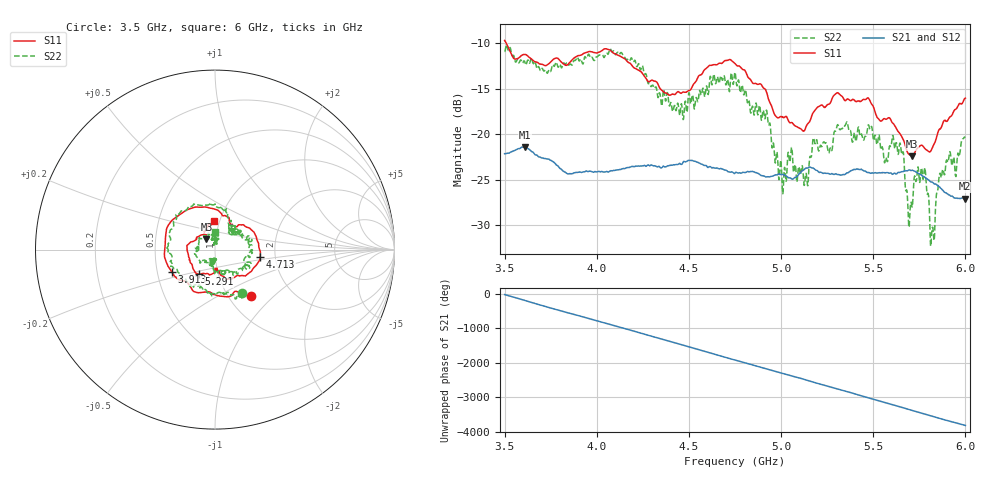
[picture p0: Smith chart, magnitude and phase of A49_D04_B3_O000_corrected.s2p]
! Created with skrf 1.9.0 (http://scikit-rf.org).
# Hz S RI R 50.0
!freq ReS11 ImS11 ReS21 ImS21 ReS12 ImS12 ReS22 ImS22
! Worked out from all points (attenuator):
!   1601 points, 3.5 GHz to 6 GHz, reference 50 ohm
!   highest |S21| = -21.41 dB at 3.609 GHz (marker M1); lowest = -27.1 dB at 5.997 GHz (marker M2)
!   lowest |S11| = -22.4 dB at 5.711 GHz (marker M3), VSWR 1.16, Z = 45.1 + j5.31 ohm
!   |S11| at or under -10 dB: 3.508 GHz to end of sweep
!   |S22| runs from -32.3 to -10.2 dB; largest |S21 - S12| = 0.001
!   S11 on the Smith chart (normalised r, x): 3.5 GHz: 1.26, -0.73; 3.913 GHz: 0.60, -0.16; 4.713 GHz: 1.67, -0.14; 5.291 GHz: 0.80, -0.23; 6 GHz: 0.94, +0.30
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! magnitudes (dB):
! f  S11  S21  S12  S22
! 3.5 GHz  -9.7  -22.2  -22.1  -10.9
! 3.609 GHz  -11.3  -21.4  -21.4  -12.1
! 3.913 GHz  -11.3  -24.2  -24.1  -11.8
! 3.917 GHz  -11.3  -24.2  -24.2  -11.9
! 4.334 GHz  -14.6  -23.5  -23.5  -15.9
! 4.713 GHz  -11.9  -24.1  -24.1  -14.2
! 4.75 GHz  -12.3  -24.3  -24.2  -13.2
! 4.928 GHz  -15.9  -24.7  -24.6  -18.5
! 5.017 GHz  -18.2  -24.5  -24.4  -23.8
! 5.048 GHz  -18.8  -24.8  -24.8  -23.0
! 5.136 GHz  -19.2  -23.7  -23.6  -24.3
! 5.167 GHz  -17.9  -23.7  -23.6  -21.9
! 5.291 GHz  -15.7  -24.4  -24.3  -19.7
! 5.584 GHz  -18.2  -24.3  -24.2  -21.9
! 5.653 GHz  -20.2  -24.1  -24.0  -22.1
! 5.688 GHz  -22.1  -24.0  -23.9  -27.7
! 5.711 GHz  -22.4  -24.0  -23.9  -28.0
! 5.772 GHz  -21.4  -24.6  -24.6  -24.8
! 5.822 GHz  -21.4  -25.3  -25.2  -30.2
! 5.867 GHz  -19.4  -25.9  -25.9  -24.7
! 5.997 GHz  -16.1  -27.1  -27.0  -20.3
! 6 GHz  -16.1  -27.1  -27.0  -20.3
